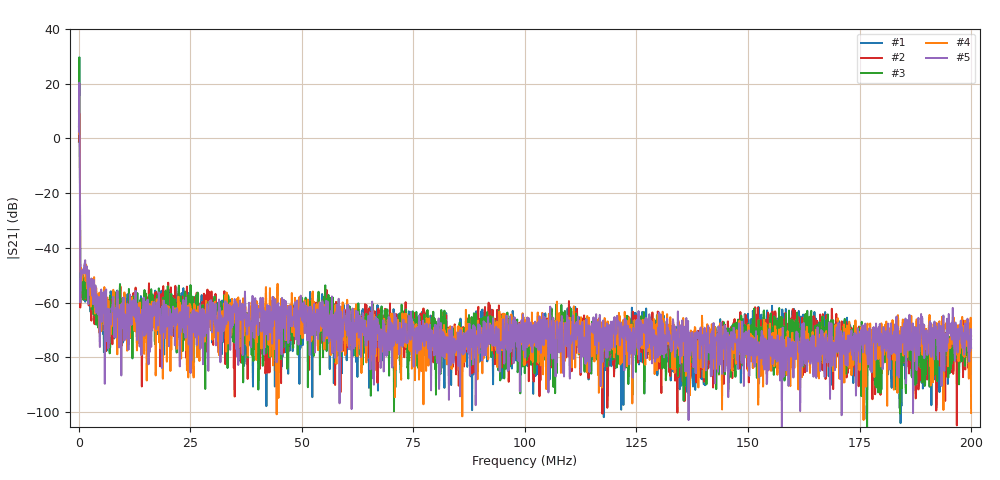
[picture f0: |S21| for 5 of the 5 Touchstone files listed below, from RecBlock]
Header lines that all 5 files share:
! CHANNEL.1
! TR.MEASUREMENT
! CORRECTED.DATA
# GHZ S RI R 50.0
! FREQ.GHZ  S11RE  S11IM  S21RE  S21IM  S12RE  S12IM  S22RE  S22IM
!; PortSelection: Port_12
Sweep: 50 kHz to 200 MHz
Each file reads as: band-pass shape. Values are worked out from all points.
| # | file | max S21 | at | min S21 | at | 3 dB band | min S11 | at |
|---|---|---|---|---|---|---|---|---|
| 1 | RecBlockSDR1.s2p | 3.30 dB | 150 kHz | -104.1 dB | 184.2 MHz | 150 kHz-250 kHz | -33.7 dB | 69.77 MHz |
| 2 | RecBlockSDR2.s2p | 9.99 dB | 50 kHz | -104.9 dB | 196.8 MHz | 50 kHz-50 kHz | -33.5 dB | 69.77 MHz |
| 3 | RecBlockSDR3.s2p | 29.65 dB | 150 kHz | -106.8 dB | 176.7 MHz | 150 kHz-150 kHz | -33.8 dB | 69.77 MHz |
| 4 | RSPdx0.s2p | 9.19 dB | 150 kHz | -102.9 dB | 175.9 MHz | 150 kHz-150 kHz | -17.1 dB | 50 kHz |
| 5 | RSPdx1.s2p | 20.35 dB | 150 kHz | -107.7 dB | 157.6 MHz | 150 kHz-150 kHz | -13.9 dB | 20.36 MHz |
